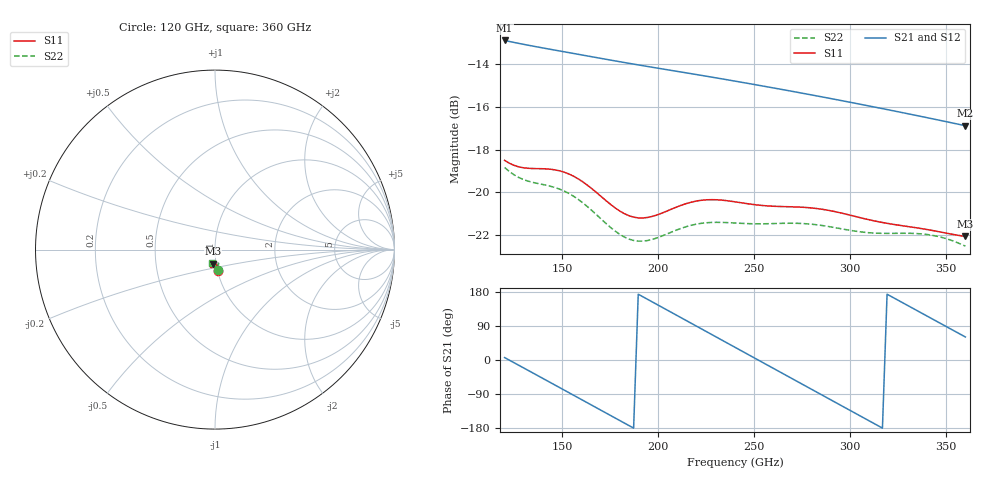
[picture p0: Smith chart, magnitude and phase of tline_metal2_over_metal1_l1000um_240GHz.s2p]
#  GHZ S DB R 50
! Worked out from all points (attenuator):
!   101 points, 120 GHz to 360 GHz, reference 50 ohm
!   highest |S21| = -12.89 dB at 120 GHz (marker M1); lowest = -16.9 dB at 360 GHz (marker M2)
!   lowest |S11| = -22.1 dB at 360 GHz (marker M3), VSWR 1.17, Z = 48.3 - j7.58 ohm
!   |S11| at or under -10 dB: start of sweep to end of sweep
!   |S22| runs from -22.5 to -18.8 dB; largest |S21 - S12| = 1.6e-13
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120  -18.50 -81.2  -12.89 6.4  -12.89 6.4  -18.84 -82.5
129.6  -18.85 -79.4  -13.07 -20.1  -13.07 -20.1  -19.39 -80.6
141.6  -18.90 -79.9  -13.27 -53.3  -13.27 -53.3  -19.67 -80.3
151.2  -19.06 -82.6  -13.42 -79.9  -13.42 -79.9  -19.95 -82.2
160.8  -19.51 -85.6  -13.58 -106.5  -13.58 -106.5  -20.50 -84.3
172.8  -20.39 -87.1  -13.77 -139.8  -13.77 -139.8  -21.46 -84.7
182.4  -21.00 -85.3  -13.92 -166.4  -13.92 -166.4  -22.10 -82.0
192  -21.20 -82.1  -14.07 166.9  -14.07 166.9  -22.29 -78.2
201.6  -20.99 -80.1  -14.21 140.3  -14.21 140.3  -22.06 -75.6
211.2  -20.63 -80.3  -14.36 113.6  -14.36 113.6  -21.71 -75.5
220.8  -20.39 -82.3  -14.50 86.9  -14.50 86.9  -21.47 -77.0
240  -20.44 -87.1  -14.79 33.5  -14.79 33.5  -21.44 -80.7
249.6  -20.57 -88.6  -14.95 6.8  -14.95 6.8  -21.47 -82.0
259.2  -20.65 -89.8  -15.10 -19.9  -15.10 -19.9  -21.47 -83.4
271.2  -20.68 -91.5  -15.30 -53.2  -15.30 -53.2  -21.45 -85.6
280.8  -20.74 -93.3  -15.46 -79.9  -15.46 -79.9  -21.50 -87.7
290.4  -20.87 -95.1  -15.62 -106.5  -15.62 -106.5  -21.63 -89.6
302.4  -21.12 -96.9  -15.83 -139.8  -15.83 -139.8  -21.81 -91.4
312  -21.33 -97.7  -16.00 -166.4  -16.00 -166.4  -21.91 -92.4
321.6  -21.49 -98.1  -16.17 167.0  -16.17 167.0  -21.92 -93.7
340.8  -21.75 -98.9  -16.52 113.8  -16.52 113.8  -21.98 -98.0
360  -22.06 -98.4  -16.88 60.7  -16.88 60.7  -22.52 -103.1
